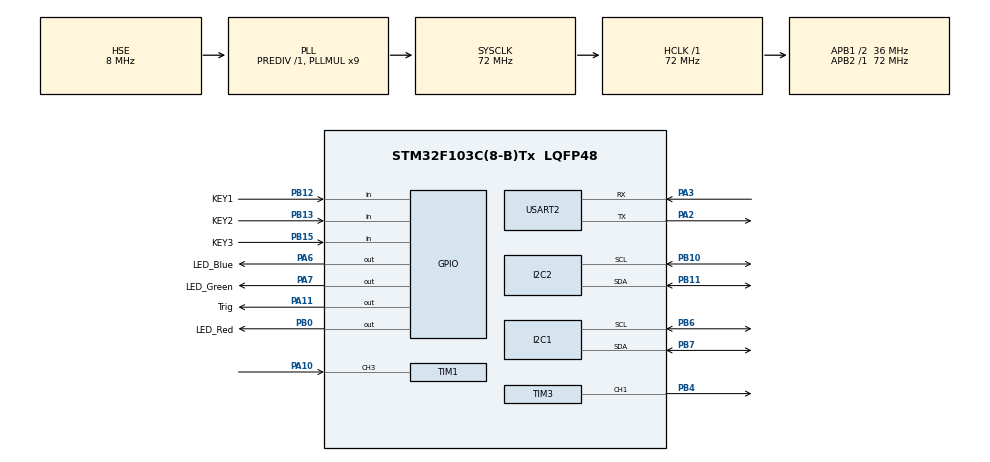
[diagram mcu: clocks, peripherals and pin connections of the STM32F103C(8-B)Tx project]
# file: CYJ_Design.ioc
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Dma.Request0=TIM3_CH1/TRIG
Dma.TIM3_CH1/TRIG.0.Direction=DMA_MEMORY_TO_PERIPH
Dma.TIM3_CH1/TRIG.0.Instance=DMA1_Channel6
Dma.TIM3_CH1/TRIG.0.MemDataAlignment=DMA_MDATAALIGN_HALFWORD
Dma.TIM3_CH1/TRIG.0.MemInc=DMA_MINC_ENABLE
Dma.TIM3_CH1/TRIG.0.Mode=DMA_NORMAL
Dma.TIM3_CH1/TRIG.0.PeriphDataAlignment=DMA_PDATAALIGN_HALFWORD
Dma.TIM3_CH1/TRIG.0.PeriphInc=DMA_PINC_DISABLE
Dma.TIM3_CH1/TRIG.0.Priority=DMA_PRIORITY_LOW
I2C1.I2C_Mode=I2C_Fast
I2C2.I2C_Mode=I2C_Standard
Mcu.Family=STM32F1
Mcu.Name=STM32F103C(8-B)Tx
Mcu.Package=LQFP48
NVIC.DMA1_Channel6_IRQn=true\:0\:0\:false\:false\:true\:false\:true\:true
NVIC.I2C2_EV_IRQn=true\:0\:0\:false\:false\:true\:true\:true\:true
NVIC.PriorityGroup=NVIC_PRIORITYGROUP_4
NVIC.TIM1_CC_IRQn=true\:0\:0\:false\:false\:true\:true\:true\:true
NVIC.TIM2_IRQn=true\:0\:0\:false\:false\:true\:true\:true\:true
PA10.Signal=S_TIM1_CH3
PA11.GPIO_Label=Trig
PA11.Signal=GPIO_Output
PA13.Mode=Serial_Wire
PA13.Signal=SYS_JTMS-SWDIO
PA14.Mode=Serial_Wire
PA14.Signal=SYS_JTCK-SWCLK
PA2.Mode=Asynchronous
PA2.Signal=USART2_TX
PA3.Mode=Asynchronous
PA3.Signal=USART2_RX
PA6.GPIO_Label=LED_Blue
PA6.Signal=GPIO_Output
PA7.GPIO_Label=LED_Green
PA7.Signal=GPIO_Output
PB0.GPIO_Label=LED_Red
PB0.Signal=GPIO_Output
PB10.Mode=I2C
PB10.Signal=I2C2_SCL
PB11.Mode=I2C
PB11.Signal=I2C2_SDA
PB12.GPIO_Label=KEY1
PB12.GPIO_PuPd=GPIO_NOPULL
PB12.Signal=GPIO_Input
PB13.GPIO_Label=KEY2
PB13.GPIO_PuPd=GPIO_PULLUP
PB13.Signal=GPIO_Input
PB15.GPIO_Label=KEY3
PB15.GPIO_PuPd=GPIO_PULLUP
PB15.Signal=GPIO_Input
PB4.GPIO_ModeDefaultPP=GPIO_MODE_AF_OD
PB4.GPIO_Speed=GPIO_SPEED_FREQ_HIGH
PB4.Signal=S_TIM3_CH1
PB6.Mode=I2C
PB6.Signal=I2C1_SCL
PB7.Mode=I2C
PB7.Signal=I2C1_SDA
PD0-OSC_IN.Mode=HSE-External-Oscillator
PD0-OSC_IN.Signal=RCC_OSC_IN
PD1-OSC_OUT.Mode=HSE-External-Oscillator
PD1-OSC_OUT.Signal=RCC_OSC_OUT
ProjectManager.HeapSize=0x200
ProjectManager.StackSize=0x400
ProjectManager.TargetToolchain=STM32CubeIDE
RCC.AHBFreq_Value=72000000
RCC.APB1CLKDivider=RCC_HCLK_DIV2
RCC.APB1Freq_Value=36000000
RCC.APB1TimFreq_Value=72000000
RCC.APB2Freq_Value=72000000
RCC.APB2TimFreq_Value=72000000
RCC.HCLKFreq_Value=72000000
RCC.PLLMUL=RCC_PLL_MUL9
RCC.PLLSourceVirtual=RCC_PLLSOURCE_HSE
RCC.SYSCLKFreq_VALUE=72000000
RCC.SYSCLKSource=RCC_SYSCLKSOURCE_PLLCLK
RCC.USBFreq_Value=72000000
SH.S_TIM1_CH3.0=TIM1_CH3,Input_Capture3_from_TI3
SH.S_TIM3_CH1.0=TIM3_CH1,PWM Generation1 CH1
TIM1.Channel-Input_Capture3_from_TI3=TIM_CHANNEL_3
TIM1.Channel-Input_Capture4_from_TI3_63=TIM_CHANNEL_4
TIM1.ICPolarity_CH4=TIM_INPUTCHANNELPOLARITY_FALLING
TIM1.Prescaler=72-1
TIM2.AutoReloadPreload=TIM_AUTORELOAD_PRELOAD_ENABLE
TIM2.Period=1000-1
TIM2.Prescaler=7200-1
TIM3.Channel-PWM\ Generation1\ CH1=TIM_CHANNEL_1
TIM3.Period=90-1
USART2.VirtualMode=VM_ASYNC
VP_TIM1_VS_ClockSourceINT.Mode=Internal
VP_TIM1_VS_indirect_ch3.Mode=Input_Capture4_from_TI3_63
VP_TIM2_VS_ClockSourceINT.Mode=Internal
VP_TIM3_VS_ClockSourceINT.Mode=Internal
board=custom

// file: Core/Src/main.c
/* USER CODE BEGIN Header */
/**
  ******************************************************************************
  * @file           : main.c
  * @brief          : Main program body
  ******************************************************************************
  * @attention
  *
  * Copyright (c) 2025 STMicroelectronics.
  * All rights reserved.
  *
  * This software is licensed under terms that can be found in the LICENSE file
  * in the root directory of this software component.
  * If no LICENSE file comes with this software, it is provided AS-IS.
  *
  ******************************************************************************
  */
/* USER CODE END Header */
#include "main.h"
#include "dma.h"
#include "i2c.h"
#include "tim.h"
#include "usart.h"
#include "gpio.h"

/* USER CODE BEGIN Includes */
#include "ws2812.h"
#include "oled.h"
#include "state_machine.h"
#include <stdio.h>
#include <string.h>
#include "Sensor.h"
#include "bh1750.h"
/* USER CODE END Includes */

void SystemClock_Config(void);

int main(void)
{

  /* MCU Configuration--------------------------------------------------------*/

  /* Reset of all peripherals, Initializes the Flash interface and the Systick. */
  HAL_Init();

  /* Configure the system clock */
  SystemClock_Config();

  /* Initialize all configured peripherals */
  MX_GPIO_Init();
  MX_DMA_Init();
  MX_TIM1_Init();
  MX_TIM3_Init();
  MX_I2C1_Init();
  MX_USART2_UART_Init();
  MX_TIM2_Init();
  MX_I2C2_Init();
  /* USER CODE BEGIN 2 */
  HAL_Delay(20);
  OLED_Init();
  StateMachine_Init();
  HAL_TIM_Base_Start_IT(&htim2);
  BH1750_Init(&hi2c2);

  //明天任务
//  1. 调整非阻塞模式以开启StateMachine_Update();
//  2. 启动超声波测距亮出ws2821代码和转向灯循环代码
  /* USER CODE END 2 */

  /* Infinite loop */
  /* USER CODE BEGIN WHILE */
  while (1)
  {
	  StateMachine_HandleButtons();
	  StateMachine_Update();
	  HAL_Delay(10);

    /* USER CODE END WHILE */

  }
}

void SystemClock_Config(void)
{
  RCC_OscInitTypeDef RCC_OscInitStruct = {0};
  RCC_ClkInitTypeDef RCC_ClkInitStruct = {0};

  /** Initializes the RCC Oscillators according to the specified parameters
  * in the RCC_OscInitTypeDef structure.
  */
  RCC_OscInitStruct.OscillatorType = RCC_OSCILLATORTYPE_HSE;
  RCC_OscInitStruct.HSEState = RCC_HSE_ON;
  RCC_OscInitStruct.HSEPredivValue = RCC_HSE_PREDIV_DIV1;
  RCC_OscInitStruct.HSIState = RCC_HSI_ON;
  RCC_OscInitStruct.PLL.PLLState = RCC_PLL_ON;
  RCC_OscInitStruct.PLL.PLLSource = RCC_PLLSOURCE_HSE;
  RCC_OscInitStruct.PLL.PLLMUL = RCC_PLL_MUL9;
  if (HAL_RCC_OscConfig(&RCC_OscInitStruct) != HAL_OK)
  {
    Error_Handler();
  }

  /** Initializes the CPU, AHB and APB buses clocks
  */
  RCC_ClkInitStruct.ClockType = RCC_CLOCKTYPE_HCLK|RCC_CLOCKTYPE_SYSCLK
                              |RCC_CLOCKTYPE_PCLK1|RCC_CLOCKTYPE_PCLK2;
  RCC_ClkInitStruct.SYSCLKSource = RCC_SYSCLKSOURCE_PLLCLK;
  RCC_ClkInitStruct.AHBCLKDivider = RCC_SYSCLK_DIV1;
  RCC_ClkInitStruct.APB1CLKDivider = RCC_HCLK_DIV2;
  RCC_ClkInitStruct.APB2CLKDivider = RCC_HCLK_DIV1;

  if (HAL_RCC_ClockConfig(&RCC_ClkInitStruct, FLASH_LATENCY_2) != HAL_OK)
  {
    Error_Handler();
  }
}

void Error_Handler(void)
{
  __disable_irq();
  while (1)
  {
  }
}
